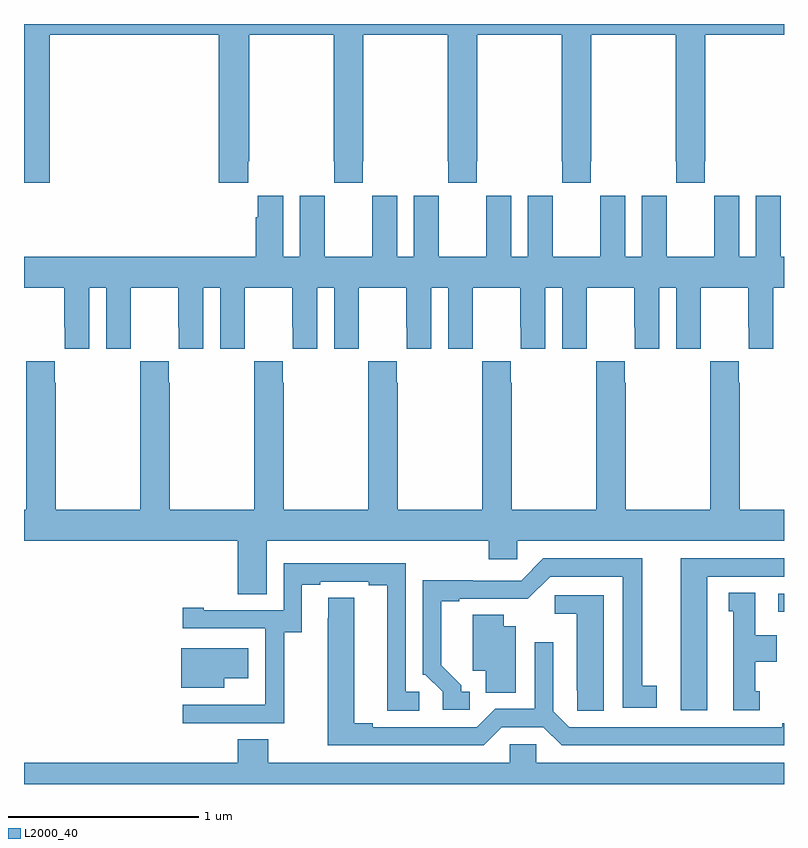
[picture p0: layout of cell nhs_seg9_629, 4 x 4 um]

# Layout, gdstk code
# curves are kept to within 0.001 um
import gdstk
lib = gdstk.Library(unit=1e-6, precision=1e-09)
def R(c, l, rs):  # rectangles x0, y0, x1, y1
    for r in rs: c.add(gdstk.rectangle(r[:2], r[2:], *l))
def P(c, l, *ps):  # polygons
    for p in ps: c.add(gdstk.Polygon(p, *l))
L2000_40 = (2000, 40)

nhs_seg9_629 = lib.new_cell('nhs_seg9_629')
R(nhs_seg9_629, L2000_40, [(146.97,1169.406,147,1169.502)])
P(nhs_seg9_629, L2000_40, [(143,1171.665),(143.135,1171.665),(143.135,1172.444),(144.026,1172.444),(144.026,1171.665),(144.179,1171.665),(144.179,1171.777),(144.186,1171.777),(144.186,1172.444),(144.631,1172.444),(144.631,1171.777),(144.633,1171.777),(144.633,1171.665),(144.783,1171.665),(144.783,1171.777),(144.786,1171.777),(144.786,1172.444),(145.231,1172.444),(145.231,1171.777),(145.233,1171.777),(145.233,1171.665),(145.383,1171.665),(145.383,1171.777),(145.386,1171.777),(145.386,1172.444),(145.831,1172.444),(145.831,1171.777),(145.833,1171.777),(145.833,1171.665),(145.983,1171.665),(145.983,1171.777),(145.986,1171.777),(145.986,1172.444),(146.431,1172.444),(146.431,1171.777),(146.433,1171.777),(146.433,1171.665),(146.583,1171.665),(146.583,1171.777),(146.586,1171.777),(146.586,1172.444),(147,1172.444),(147,1172.5),(143,1172.5)],
  [(145.832,1170.792),(145.962,1170.792),(145.962,1170.904),(145.963,1170.904),(145.963,1171.112),(146.213,1171.112),(146.213,1170.904),(146.214,1170.904),(146.214,1170.792),(146.344,1170.792),(146.344,1171.112),(146.432,1171.112),(146.432,1170.792),(146.562,1170.792),(146.562,1170.904),(146.563,1170.904),(146.563,1171.112),(146.813,1171.112),(146.813,1170.904),(146.814,1170.904),(146.814,1170.792),(146.944,1170.792),(146.944,1171.112),(147,1171.112),(147,1171.276),(146.983,1171.276),(146.983,1171.484),(146.982,1171.484),(146.982,1171.597),(146.852,1171.597),(146.852,1171.276),(146.764,1171.276),(146.764,1171.597),(146.634,1171.597),(146.634,1171.484),(146.633,1171.484),(146.633,1171.276),(146.383,1171.276),(146.383,1171.484),(146.382,1171.484),(146.382,1171.597),(146.252,1171.597),(146.252,1171.276),(146.164,1171.276),(146.164,1171.597),(146.034,1171.597),(146.034,1171.484),(146.033,1171.484),(146.033,1171.276),(145.783,1171.276),(145.783,1171.484),(145.782,1171.484),(145.782,1171.597),(145.652,1171.597),(145.652,1171.276),(145.564,1171.276),(145.564,1171.597),(145.434,1171.597),(145.434,1171.484),(145.433,1171.484),(145.433,1171.276),(145.183,1171.276),(145.183,1171.484),(145.182,1171.484),(145.182,1171.597),(145.052,1171.597),(145.052,1171.276),(144.964,1171.276),(144.964,1171.597),(144.834,1171.597),(144.834,1171.484),(144.833,1171.484),(144.833,1171.276),(144.583,1171.276),(144.583,1171.484),(144.582,1171.484),(144.582,1171.597),(144.452,1171.597),(144.452,1171.276),(144.364,1171.276),(144.364,1171.597),(144.23,1171.597),(144.23,1171.484),(144.221,1171.484),(144.221,1171.276),(143,1171.276),(143,1171.112),(143.213,1171.112),(143.213,1170.904),(143.214,1170.904),(143.214,1170.792),(143.344,1170.792),(143.344,1171.112),(143.432,1171.112),(143.432,1170.792),(143.562,1170.792),(143.562,1170.904),(143.563,1170.904),(143.563,1171.112),(143.813,1171.112),(143.813,1170.904),(143.814,1170.904),(143.814,1170.792),(143.944,1170.792),(143.944,1171.112),(144.032,1171.112),(144.032,1170.792),(144.162,1170.792),(144.162,1170.904),(144.163,1170.904),(144.163,1171.112),(144.413,1171.112),(144.413,1170.904),(144.414,1170.904),(144.414,1170.792),(144.544,1170.792),(144.544,1171.112),(144.632,1171.112),(144.632,1170.792),(144.762,1170.792),(144.762,1170.904),(144.763,1170.904),(144.763,1171.112),(145.013,1171.112),(145.013,1170.904),(145.014,1170.904),(145.014,1170.792),(145.144,1170.792),(145.144,1171.112),(145.232,1171.112),(145.232,1170.792),(145.362,1170.792),(145.362,1170.904),(145.363,1170.904),(145.363,1171.112),(145.613,1171.112),(145.613,1170.904),(145.614,1170.904),(145.614,1170.792),(145.744,1170.792),(145.744,1171.112),(145.832,1171.112)],
  [(144.125,1169.5),(144.277,1169.5),(144.277,1169.78),(145.445,1169.78),(145.445,1169.682),(145.596,1169.682),(145.596,1169.78),(147,1169.78),(147,1169.944),(146.766,1169.944),(146.766,1170.611),(146.763,1170.611),(146.763,1170.724),(146.613,1170.724),(146.613,1170.611),(146.611,1170.611),(146.611,1169.944),(146.166,1169.944),(146.166,1170.611),(146.163,1170.611),(146.163,1170.724),(146.013,1170.724),(146.013,1170.611),(146.011,1170.611),(146.011,1169.944),(145.566,1169.944),(145.566,1170.611),(145.563,1170.611),(145.563,1170.724),(145.413,1170.724),(145.413,1170.611),(145.411,1170.611),(145.411,1169.944),(144.966,1169.944),(144.966,1170.611),(144.963,1170.611),(144.963,1170.724),(144.813,1170.724),(144.813,1170.611),(144.811,1170.611),(144.811,1169.944),(144.366,1169.944),(144.366,1170.611),(144.363,1170.611),(144.363,1170.724),(144.213,1170.724),(144.213,1170.611),(144.211,1170.611),(144.211,1169.944),(143.766,1169.944),(143.766,1170.611),(143.763,1170.611),(143.763,1170.724),(143.613,1170.724),(143.613,1170.611),(143.611,1170.611),(143.611,1169.944),(143.166,1169.944),(143.166,1170.611),(143.163,1170.611),(143.163,1170.724),(143.013,1170.724),(143.013,1170.611),(143.011,1170.611),(143.011,1169.944),(143,1169.944),(143,1169.78),(144.125,1169.78)],
  [(146.596,1169.592),(147,1169.592),(147,1169.688),(146.456,1169.688),(146.456,1168.887),(146.596,1168.887)],
  [(145.345,1168.986),(145.3,1168.986),(145.3,1169.021),(145.195,1169.126),(145.195,1169.463),(145.291,1169.463),(145.291,1169.475),(145.652,1169.474),(145.77,1169.592),(146.15,1169.592),(146.15,1168.902),(146.329,1168.902),(146.329,1169.018),(146.254,1169.018),(146.254,1169.688),(145.734,1169.688),(145.617,1169.571),(145.361,1169.571),(145.361,1169.573),(145.098,1169.573),(145.098,1169.076),(145.113,1169.076),(145.203,1168.986),(145.203,1168.89),(145.345,1168.89)],
  [(144.369,1169.299),(144.463,1169.299),(144.463,1169.55),(144.559,1169.55),(144.559,1169.565),(144.815,1169.565),(144.815,1169.545),(144.911,1169.545),(144.911,1168.885),(145.081,1168.885),(145.081,1168.986),(145.008,1168.986),(145.008,1169.661),(144.366,1169.661),(144.366,1169.415),(143.947,1169.415),(143.947,1169.428),(143.835,1169.428),(143.835,1169.319),(144.27,1169.319),(144.27,1168.918),(144.269,1168.918),(144.269,1168.917),(143.835,1168.917),(143.835,1168.821),(144.369,1168.821)],
  [(146.872,1168.989),(146.848,1168.989),(146.848,1169.144),(146.962,1169.144),(146.962,1169.284),(146.848,1169.284),(146.848,1169.507),(146.708,1169.507),(146.708,1169.409),(146.732,1169.409),(146.732,1168.887),(146.872,1168.887)],
  [(146.05,1169.493),(145.794,1169.493),(145.794,1169.396),(145.91,1169.396),(145.91,1168.993),(145.911,1168.993),(145.911,1168.885),(146.05,1168.885)],
  [(145.515,1168.8),(145.733,1168.8),(145.829,1168.704),(147,1168.704),(147,1168.82),(146.99,1168.82),(146.99,1168.8),(145.869,1168.8),(145.785,1168.884),(145.785,1169.245),(145.689,1169.245),(145.689,1168.896),(145.479,1168.896),(145.383,1168.8),(144.835,1168.8),(144.835,1168.82),(144.739,1168.82),(144.739,1169.48),(144.6,1169.48),(144.599,1168.704),(145.419,1168.704)],
  [(145.588,1169.329),(145.525,1169.329),(145.525,1169.39),(145.361,1169.39),(145.361,1169.096),(145.43,1169.096),(145.43,1168.981),(145.588,1168.981)],
  [(144.055,1169.057),(144.181,1169.057),(144.181,1169.215),(143.828,1169.215),(143.828,1169.006),(144.055,1169.006)],
  [(147,1168.612),(145.695,1168.612),(145.695,1168.71),(145.557,1168.71),(145.557,1168.612),(144.285,1168.612),(144.285,1168.736),(144.125,1168.736),(144.125,1168.612),(143,1168.612),(143,1168.5),(147,1168.5)])

lib.write_gds('nhs_seg9_629.gds')
